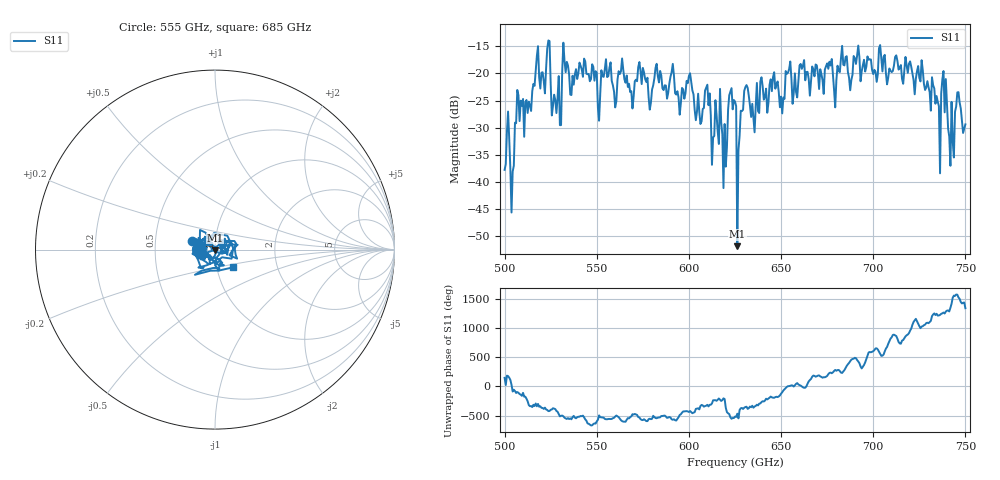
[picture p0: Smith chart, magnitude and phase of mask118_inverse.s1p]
!Created with skrf (http://scikit-rf.org).
# GHz S MA R 50.0
!freq magS11 angS11
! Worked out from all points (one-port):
!   401 points, 500 GHz to 750 GHz, reference 50 ohm
!   lowest |S11| = -51.8 dB at 626.2 GHz (marker M1), VSWR 1.01, Z = 49.9 - j0.246 ohm
!   |S11| at or under -10 dB: start of sweep to end of sweep
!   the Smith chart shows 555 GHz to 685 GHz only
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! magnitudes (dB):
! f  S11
! 500 GHz  -37.8
! 504.4 GHz  -38.1
! 506.9 GHz  -23.0
! 513.8 GHz  -25.9
! 516.9 GHz  -19.4
! 523.8 GHz  -13.9
! 526.9 GHz  -23.9
! 531.2 GHz  -19.6
! 533.1 GHz  -19.8
! 551.9 GHz  -23.8
! 562.5 GHz  -20.1
! 593.8 GHz  -23.3
! 610 GHz  -22.1
! 619.4 GHz  -29.3
! 623.1 GHz  -22.7
! 625 GHz  -25.2
! 626.2 GHz  -51.8
! 631.2 GHz  -22.1
! 635 GHz  -28.2
! 656.2 GHz  -25.6
! 687.5 GHz  -23.1
! 690.6 GHz  -18.2
! 718.8 GHz  -19.9
! 735 GHz  -25.2
! 738.1 GHz  -19.6
! 742.5 GHz  -25.2
! 745.6 GHz  -23.5
! 750 GHz  -29.4
